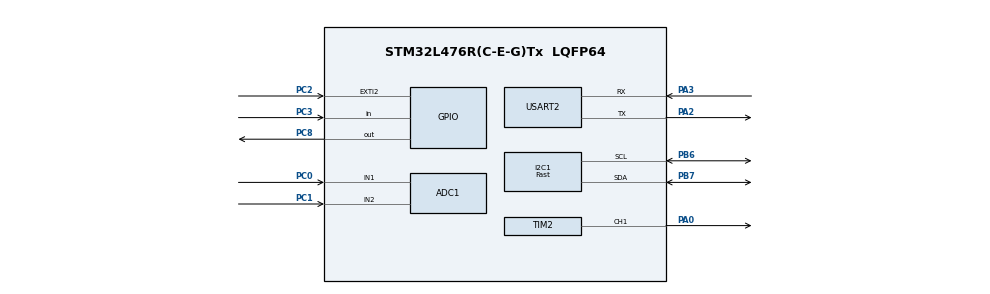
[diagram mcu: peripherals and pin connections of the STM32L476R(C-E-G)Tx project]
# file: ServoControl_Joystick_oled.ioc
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ADC1.Channel-0\#ChannelRegularConversion=ADC_CHANNEL_1
ADC1.NbrOfConversionFlag=1
ADC1.OffsetNumber-0\#ChannelRegularConversion=ADC_OFFSET_NONE
ADC1.Rank-0\#ChannelRegularConversion=1
ADC1.SamplingTime-0\#ChannelRegularConversion=ADC_SAMPLETIME_2CYCLES_5
ADC1.master=1
I2C1.I2C_Speed_Mode=I2C_Fast
I2C1.Timing=0x00000003
Mcu.Family=STM32L4
Mcu.Name=STM32L476R(C-E-G)Tx
Mcu.Package=LQFP64
NVIC.EXTI2_IRQn=true\:0\:0\:false\:false\:true\:true\:true\:true
NVIC.PriorityGroup=NVIC_PRIORITYGROUP_4
NVIC.TIM6_DAC_IRQn=true\:15\:0\:false\:false\:true\:false\:true\:true
NVIC.TimeBase=TIM6_DAC_IRQn
NVIC.TimeBaseIP=TIM6
NVIC.USART2_IRQn=true\:0\:0\:false\:false\:true\:true\:true\:true
PA0.Signal=S_TIM2_CH1
PA2.Mode=Asynchronous
PA2.Signal=USART2_TX
PA3.Mode=Asynchronous
PA3.Signal=USART2_RX
PB6.Mode=I2C
PB6.Signal=I2C1_SCL
PB7.Mode=I2C
PB7.Signal=I2C1_SDA
PC0.Signal=ADCx_IN1
PC1.Signal=ADCx_IN2
PC2.GPIO_PuPd=GPIO_PULLDOWN
PC2.Signal=GPXTI2
PC3.GPIO_PuPd=GPIO_PULLDOWN
PC3.Signal=GPIO_Input
PC8.GPIO_PuPd=GPIO_PULLDOWN
PC8.Signal=GPIO_Output
ProjectManager.HeapSize=0x200
ProjectManager.StackSize=0x400
ProjectManager.TargetToolchain=MDK-ARM V5.32
RCC.ADCFreq_Value=32000000
RCC.HSE_VALUE=8000000
RCC.HSI_VALUE=16000000
RCC.LSE_VALUE=32768
RCC.MSI_VALUE=4000000
RCC.PLLSAI1N=16
RCC.USBFreq_Value=32000000
RCC.VCOOutputFreq_Value=32000000
SH.ADCx_IN1.0=ADC1_IN1,IN1-Single-Ended
SH.ADCx_IN2.0=ADC1_IN2,IN2-Single-Ended
SH.S_TIM2_CH1.0=TIM2_CH1,PWM Generation1 CH1
TIM2.Channel-PWM\ Generation1\ CH1=TIM_CHANNEL_1
TIM2.Period=19999
TIM2.Prescaler=3
USART2.VirtualMode-Asynchronous=VM_ASYNC
VP_SYS_VS_tim6.Mode=TIM6
VP_TIM2_VS_ClockSourceINT.Mode=Internal
board=custom

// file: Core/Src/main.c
/* USER CODE BEGIN Header */
/**
  ******************************************************************************
  * @file           : main.c
  * @brief          : Main program body
  ******************************************************************************
  * @attention
  *
  * Copyright (c) 2026 STMicroelectronics.
  * All rights reserved.
  *
  * This software is licensed under terms that can be found in the LICENSE file
  * in the root directory of this software component.
  * If no LICENSE file comes with this software, it is provided AS-IS.
  *
  ******************************************************************************
  */
/* USER CODE END Header */
#include "main.h"

/* USER CODE BEGIN Includes */
#include "FreeRTOS.h"
#include "task.h"
#include "servoSG90.h"
#include "string.h"
#include "app_task.h"
/* USER CODE END Includes */

ADC_HandleTypeDef hadc1;

I2C_HandleTypeDef hi2c1;

TIM_HandleTypeDef htim2;

UART_HandleTypeDef huart2;

void SystemClock_Config(void);
static void MX_GPIO_Init(void);
static void MX_ADC1_Init(void);
static void MX_I2C1_Init(void);
static void MX_TIM2_Init(void);
static void MX_USART2_UART_Init(void);

int main(void)
{

  /* MCU Configuration--------------------------------------------------------*/

  /* Reset of all peripherals, Initializes the Flash interface and the Systick. */
  HAL_Init();

  /* Configure the system clock */
  SystemClock_Config();

  /* Initialize all configured peripherals */
  MX_GPIO_Init();
  MX_ADC1_Init();
  MX_I2C1_Init();
  MX_TIM2_Init();
  MX_USART2_UART_Init();
  /* USER CODE BEGIN 2 */
	 servo_init();
	 OLED_Init();

	 uint16_t adc_value;
	 uint8_t servo_angle;
	 char buffer[50];

  /* USER CODE END 2 */

  /* Infinite loop */
  /* USER CODE BEGIN WHILE */

	 App_RTOS_Init();
	 vTaskStartScheduler();
  while (1)
  {
    /* USER CODE END WHILE */

  }
}

void SystemClock_Config(void)
{
  RCC_OscInitTypeDef RCC_OscInitStruct = {0};
  RCC_ClkInitTypeDef RCC_ClkInitStruct = {0};

  /** Configure the main internal regulator output voltage
  */
  if (HAL_PWREx_ControlVoltageScaling(PWR_REGULATOR_VOLTAGE_SCALE1) != HAL_OK)
  {
    Error_Handler();
  }

  /** Initializes the RCC Oscillators according to the specified parameters
  * in the RCC_OscInitTypeDef structure.
  */
  RCC_OscInitStruct.OscillatorType = RCC_OSCILLATORTYPE_MSI;
  RCC_OscInitStruct.MSIState = RCC_MSI_ON;
  RCC_OscInitStruct.MSICalibrationValue = 0;
  RCC_OscInitStruct.MSIClockRange = RCC_MSIRANGE_6;
  RCC_OscInitStruct.PLL.PLLState = RCC_PLL_NONE;
  if (HAL_RCC_OscConfig(&RCC_OscInitStruct) != HAL_OK)
  {
    Error_Handler();
  }

  /** Initializes the CPU, AHB and APB buses clocks
  */
  RCC_ClkInitStruct.ClockType = RCC_CLOCKTYPE_HCLK|RCC_CLOCKTYPE_SYSCLK
                              |RCC_CLOCKTYPE_PCLK1|RCC_CLOCKTYPE_PCLK2;
  RCC_ClkInitStruct.SYSCLKSource = RCC_SYSCLKSOURCE_MSI;
  RCC_ClkInitStruct.AHBCLKDivider = RCC_SYSCLK_DIV1;
  RCC_ClkInitStruct.APB1CLKDivider = RCC_HCLK_DIV1;
  RCC_ClkInitStruct.APB2CLKDivider = RCC_HCLK_DIV1;

  if (HAL_RCC_ClockConfig(&RCC_ClkInitStruct, FLASH_LATENCY_0) != HAL_OK)
  {
    Error_Handler();
  }
}

static void MX_ADC1_Init(void)
{

  ADC_MultiModeTypeDef multimode = {0};
  ADC_ChannelConfTypeDef sConfig = {0};

  /** Common config
  */
  hadc1.Instance = ADC1;
  hadc1.Init.ClockPrescaler = ADC_CLOCK_ASYNC_DIV1;
  hadc1.Init.Resolution = ADC_RESOLUTION_12B;
  hadc1.Init.DataAlign = ADC_DATAALIGN_RIGHT;
  hadc1.Init.ScanConvMode = ADC_SCAN_DISABLE;
  hadc1.Init.EOCSelection = ADC_EOC_SINGLE_CONV;
  hadc1.Init.LowPowerAutoWait = DISABLE;
  hadc1.Init.ContinuousConvMode = DISABLE;
  hadc1.Init.NbrOfConversion = 1;
  hadc1.Init.DiscontinuousConvMode = DISABLE;
  hadc1.Init.ExternalTrigConv = ADC_SOFTWARE_START;
  hadc1.Init.ExternalTrigConvEdge = ADC_EXTERNALTRIGCONVEDGE_NONE;
  hadc1.Init.DMAContinuousRequests = DISABLE;
  hadc1.Init.Overrun = ADC_OVR_DATA_PRESERVED;
  hadc1.Init.OversamplingMode = DISABLE;
  if (HAL_ADC_Init(&hadc1) != HAL_OK)
  {
    Error_Handler();
  }

  /** Configure the ADC multi-mode
  */
  multimode.Mode = ADC_MODE_INDEPENDENT;
  if (HAL_ADCEx_MultiModeConfigChannel(&hadc1, &multimode) != HAL_OK)
  {
    Error_Handler();
  }

  /** Configure Regular Channel
  */
  sConfig.Channel = ADC_CHANNEL_1;
  sConfig.Rank = ADC_REGULAR_RANK_1;
  sConfig.SamplingTime = ADC_SAMPLETIME_2CYCLES_5;
  sConfig.SingleDiff = ADC_SINGLE_ENDED;
  sConfig.OffsetNumber = ADC_OFFSET_NONE;
  sConfig.Offset = 0;
  if (HAL_ADC_ConfigChannel(&hadc1, &sConfig) != HAL_OK)
  {
    Error_Handler();
  }

}

static void MX_I2C1_Init(void)
{

  hi2c1.Instance = I2C1;
  hi2c1.Init.Timing = 0x00000003;
  hi2c1.Init.OwnAddress1 = 0;
  hi2c1.Init.AddressingMode = I2C_ADDRESSINGMODE_7BIT;
  hi2c1.Init.DualAddressMode = I2C_DUALADDRESS_DISABLE;
  hi2c1.Init.OwnAddress2 = 0;
  hi2c1.Init.OwnAddress2Masks = I2C_OA2_NOMASK;
  hi2c1.Init.GeneralCallMode = I2C_GENERALCALL_DISABLE;
  hi2c1.Init.NoStretchMode = I2C_NOSTRETCH_DISABLE;
  if (HAL_I2C_Init(&hi2c1) != HAL_OK)
  {
    Error_Handler();
  }

  /** Configure Analogue filter
  */
  if (HAL_I2CEx_ConfigAnalogFilter(&hi2c1, I2C_ANALOGFILTER_ENABLE) != HAL_OK)
  {
    Error_Handler();
  }

  /** Configure Digital filter
  */
  if (HAL_I2CEx_ConfigDigitalFilter(&hi2c1, 0) != HAL_OK)
  {
    Error_Handler();
  }

}

static void MX_TIM2_Init(void)
{

  TIM_ClockConfigTypeDef sClockSourceConfig = {0};
  TIM_MasterConfigTypeDef sMasterConfig = {0};
  TIM_OC_InitTypeDef sConfigOC = {0};

  htim2.Instance = TIM2;
  htim2.Init.Prescaler = 3;
  htim2.Init.CounterMode = TIM_COUNTERMODE_UP;
  htim2.Init.Period = 19999;
  htim2.Init.ClockDivision = TIM_CLOCKDIVISION_DIV1;
  htim2.Init.AutoReloadPreload = TIM_AUTORELOAD_PRELOAD_DISABLE;
  if (HAL_TIM_Base_Init(&htim2) != HAL_OK)
  {
    Error_Handler();
  }
  sClockSourceConfig.ClockSource = TIM_CLOCKSOURCE_INTERNAL;
  if (HAL_TIM_ConfigClockSource(&htim2, &sClockSourceConfig) != HAL_OK)
  {
    Error_Handler();
  }
  if (HAL_TIM_PWM_Init(&htim2) != HAL_OK)
  {
    Error_Handler();
  }
  sMasterConfig.MasterOutputTrigger = TIM_TRGO_RESET;
  sMasterConfig.MasterSlaveMode = TIM_MASTERSLAVEMODE_DISABLE;
  if (HAL_TIMEx_MasterConfigSynchronization(&htim2, &sMasterConfig) != HAL_OK)
  {
    Error_Handler();
  }
  sConfigOC.OCMode = TIM_OCMODE_PWM1;
  sConfigOC.Pulse = 0;
  sConfigOC.OCPolarity = TIM_OCPOLARITY_HIGH;
  sConfigOC.OCFastMode = TIM_OCFAST_DISABLE;
  if (HAL_TIM_PWM_ConfigChannel(&htim2, &sConfigOC, TIM_CHANNEL_1) != HAL_OK)
  {
    Error_Handler();
  }
  HAL_TIM_MspPostInit(&htim2);

}

static void MX_USART2_UART_Init(void)
{

  huart2.Instance = USART2;
  huart2.Init.BaudRate = 115200;
  huart2.Init.WordLength = UART_WORDLENGTH_8B;
  huart2.Init.StopBits = UART_STOPBITS_1;
  huart2.Init.Parity = UART_PARITY_NONE;
  huart2.Init.Mode = UART_MODE_TX_RX;
  huart2.Init.HwFlowCtl = UART_HWCONTROL_NONE;
  huart2.Init.OverSampling = UART_OVERSAMPLING_16;
  huart2.Init.OneBitSampling = UART_ONE_BIT_SAMPLE_DISABLE;
  huart2.AdvancedInit.AdvFeatureInit = UART_ADVFEATURE_NO_INIT;
  if (HAL_UART_Init(&huart2) != HAL_OK)
  {
    Error_Handler();
  }

}

static void MX_GPIO_Init(void)
{
  GPIO_InitTypeDef GPIO_InitStruct = {0};

  /* GPIO Ports Clock Enable */
  __HAL_RCC_GPIOC_CLK_ENABLE();
  __HAL_RCC_GPIOA_CLK_ENABLE();
  __HAL_RCC_GPIOB_CLK_ENABLE();

  /*Configure GPIO pin Output Level */
  HAL_GPIO_WritePin(GPIOC, GPIO_PIN_8, GPIO_PIN_RESET);

  /*Configure GPIO pin : PC2 */
  GPIO_InitStruct.Pin = GPIO_PIN_2;
  GPIO_InitStruct.Mode = GPIO_MODE_IT_RISING;
  GPIO_InitStruct.Pull = GPIO_PULLDOWN;
  HAL_GPIO_Init(GPIOC, &GPIO_InitStruct);

  /*Configure GPIO pin : PC3 */
  GPIO_InitStruct.Pin = GPIO_PIN_3;
  GPIO_InitStruct.Mode = GPIO_MODE_INPUT;
  GPIO_InitStruct.Pull = GPIO_PULLDOWN;
  HAL_GPIO_Init(GPIOC, &GPIO_InitStruct);

  /*Configure GPIO pin : PC8 */
  GPIO_InitStruct.Pin = GPIO_PIN_8;
  GPIO_InitStruct.Mode = GPIO_MODE_OUTPUT_PP;
  GPIO_InitStruct.Pull = GPIO_PULLDOWN;
  GPIO_InitStruct.Speed = GPIO_SPEED_FREQ_LOW;
  HAL_GPIO_Init(GPIOC, &GPIO_InitStruct);

  /* EXTI interrupt init*/
  HAL_NVIC_SetPriority(EXTI2_IRQn, 0, 0);
  HAL_NVIC_EnableIRQ(EXTI2_IRQn);

}

/* USER CODE BEGIN 4 */
void I2C_Bus_Recovery(void)
{
    GPIO_InitTypeDef GPIO_InitStruct = {0};

    // Disable I2C
    __HAL_I2C_DISABLE(&hi2c1);

    // Configure SCL as GPIO
    GPIO_InitStruct.Pin = GPIO_PIN_6; // SCL
    GPIO_InitStruct.Mode = GPIO_MODE_OUTPUT_OD;
    GPIO_InitStruct.Pull = GPIO_PULLUP;
    HAL_GPIO_Init(GPIOB, &GPIO_InitStruct);

    // Generate clock pulses
    for (int i = 0; i < 9; i++)
    {
        HAL_GPIO_WritePin(GPIOB, GPIO_PIN_6, GPIO_PIN_SET);
        HAL_Delay(1);
        HAL_GPIO_WritePin(GPIOB, GPIO_PIN_6, GPIO_PIN_RESET);
        HAL_Delay(1);
    }

    // Re-init I2C
    MX_I2C1_Init();
}
/* USER CODE END 4 */

void HAL_TIM_PeriodElapsedCallback(TIM_HandleTypeDef *htim)
{
  if (htim->Instance == TIM6)
  {
    HAL_IncTick();
  }
}

void Error_Handler(void)
{
  __disable_irq();
  while (1)
  {
  }
}
